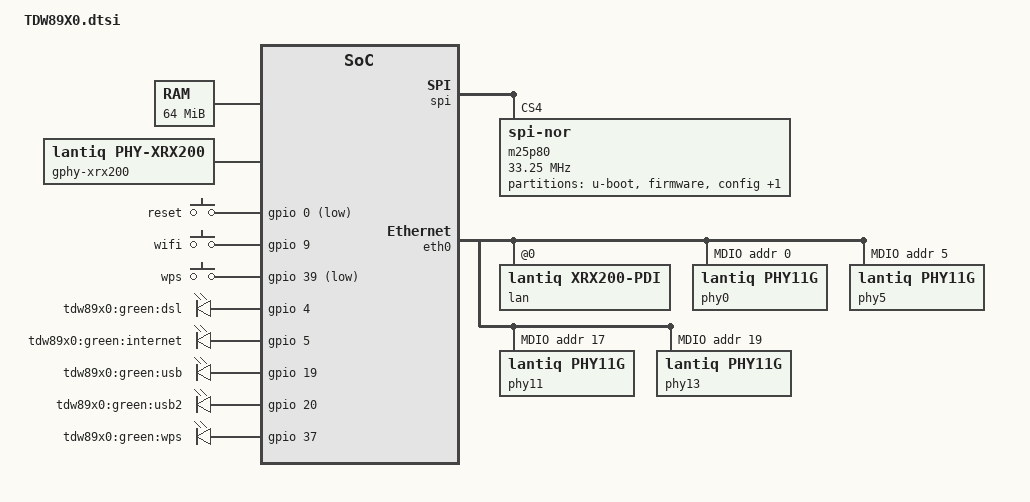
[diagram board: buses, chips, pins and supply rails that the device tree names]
/include/ "vr9.dtsi"

/ {
	chosen {
		bootargs = "console=ttyLTQ0,115200 init=/etc/preinit";

		leds {
			/* the power led can't be controlled, use the wps led instead */
			boot = &wps;
			failsafe = &wps;

			dsl = &dsl;
			internet = &internet;
			usb = &usb0;
			usb2 = &usb2;
		};
	};

	memory@0 {
		reg = <0x0 0x4000000>;
	};

	fpi@10000000 {
		gpio: pinmux@E100B10 {
			pinctrl-names = "default";
			pinctrl-0 = <&state_default>;

			state_default: pinmux {
				mdio {
					lantiq,groups = "mdio";
					lantiq,function = "mdio";
				};
				gphy-leds {
					lantiq,groups = "gphy0 led1", "gphy1 led1";
					lantiq,function = "gphy";
					lantiq,pull = <2>;
					lantiq,open-drain = <0>;
					lantiq,output = <1>;
				};
				phy-rst {
					lantiq,pins = "io42";
					lantiq,pull = <0>;
					lantiq,open-drain = <0>;
					lantiq,output = <1>;
				};
				pcie-rst {
					lantiq,pins = "io38";
					lantiq,pull = <0>;
					lantiq,output = <1>;
				};
			};
			pins_spi_default: pins_spi_default {
				spi_in {
					lantiq,groups = "spi_di";
					lantiq,function = "spi";
				};
				spi_out {
					lantiq,groups = "spi_do", "spi_clk",
						"spi_cs4";
					lantiq,function = "spi";
					lantiq,output = <1>;
				};
			};
		};

		ifxhcd@E101000 {
			status = "okay";
			gpios = <&gpio 33 0>;
			lantiq,portmask = <0x3>;
		};

		ifxhcd@E106000 {
			status = "okay";
			gpios = <&gpio 33 0>;
		};
	};

	gphy-xrx200 {
		compatible = "lantiq,phy-xrx200";
		firmware = "lantiq/vr9_phy11g_a2x.bin";
		phys = [ 00 01 ];
	};

	ath9k_eep {
		compatible = "ath9k,eeprom";
		ath,eep-flash = <&ath9k_cal 0x21000>;
		ath,mac-offset = <0xf100>;
		ath,mac-increment;
		ath,led-pin = <0>;
		ath,disable-5ghz;
		ath,led-active-high;
	};

	gpio-keys-polled {
		compatible = "gpio-keys-polled";
		#address-cells = <1>;
		#size-cells = <0>;
		poll-interval = <100>;
		reset {
			label = "reset";
			gpios = <&gpio 0 1>;
			linux,code = <0x198>;
		};

		wifi {
			label = "wifi";
			gpios = <&gpio 9 0>;
			linux,code = <0xf7>;
			linux,input-type = <5>; /* EV_SW */
		};

		wps {
			label = "wps";
			gpios = <&gpio 39 1>;
			linux,code = <0x211>;
		};
	};

	gpio-leds {
		compatible = "gpio-leds";
		/*
			power is not controllable via gpio
        */
		dsl: dsl {
			label = "tdw89x0:green:dsl";
			gpios = <&gpio 4 0>;
		};
		internet: internet {
			label = "tdw89x0:green:internet";
			gpios = <&gpio 5 0>;
		};
		usb0: usb0 {
			label = "tdw89x0:green:usb";
			gpios = <&gpio 19 0>;
		};
		usb2: usb2 {
			label = "tdw89x0:green:usb2";
			gpios = <&gpio 20 0>;
		};
		wps: wps {
			label = "tdw89x0:green:wps";
			gpios = <&gpio 37 0>;
		};
	};
};

&spi {
	pinctrl-names = "default";
	pinctrl-0 = <&pins_spi_default>;

	status = "ok";

	m25p80@4 {
		#address-cells = <1>;
		#size-cells = <1>;
		compatible = "jedec,spi-nor";
		reg = <4 0>;
		spi-max-frequency = <33250000>;
		m25p,fast-read;

		partition@0 {
			reg = <0x0 0x20000>;
			label = "u-boot";
			read-only;
		};

		partition@20000 {
			reg = <0x20000 0x7a0000>;
			label = "firmware";
		};

		partition@7c0000 {
			reg = <0x7c0000 0x10000>;
			label = "config";
			read-only;
		};

		ath9k_cal: partition@7d0000 {
			reg = <0x7d0000 0x30000>;
			label = "boardconfig";
			read-only;
		};
	};
};

&eth0 {
	lan: interface@0 {
		compatible = "lantiq,xrx200-pdi";
		#address-cells = <1>;
		#size-cells = <0>;
		reg = <0>;
		mtd-mac-address = <&ath9k_cal 0xf100>;
		lantiq,switch;

		ethernet@0 {
			compatible = "lantiq,xrx200-pdi-port";
			reg = <0>;
			phy-mode = "rgmii";
			phy-handle = <&phy0>;
			// gpios = <&gpio 42 1>;
		};
		ethernet@5 {
			compatible = "lantiq,xrx200-pdi-port";
			reg = <5>;
			phy-mode = "rgmii";
			phy-handle = <&phy5>;
		};
		ethernet@2 {
			compatible = "lantiq,xrx200-pdi-port";
			reg = <2>;
			phy-mode = "gmii";
			phy-handle = <&phy11>;
		};
		ethernet@3 {
			compatible = "lantiq,xrx200-pdi-port";
			reg = <4>;
			phy-mode = "gmii";
			phy-handle = <&phy13>;
		};
	};

	mdio@0 {
		#address-cells = <1>;
		#size-cells = <0>;
		compatible = "lantiq,xrx200-mdio";
		phy0: ethernet-phy@0 {
			reg = <0x0>;
			compatible = "lantiq,phy11g", "ethernet-phy-ieee802.3-c22";
		};
		phy5: ethernet-phy@5 {
			reg = <0x5>;
			compatible = "lantiq,phy11g", "ethernet-phy-ieee802.3-c22";
		};
		phy11: ethernet-phy@11 {
			reg = <0x11>;
			compatible = "lantiq,phy11g", "ethernet-phy-ieee802.3-c22";
		};
		phy13: ethernet-phy@13 {
			reg = <0x13>;
			compatible = "lantiq,phy11g", "ethernet-phy-ieee802.3-c22";
		};
	};
};
